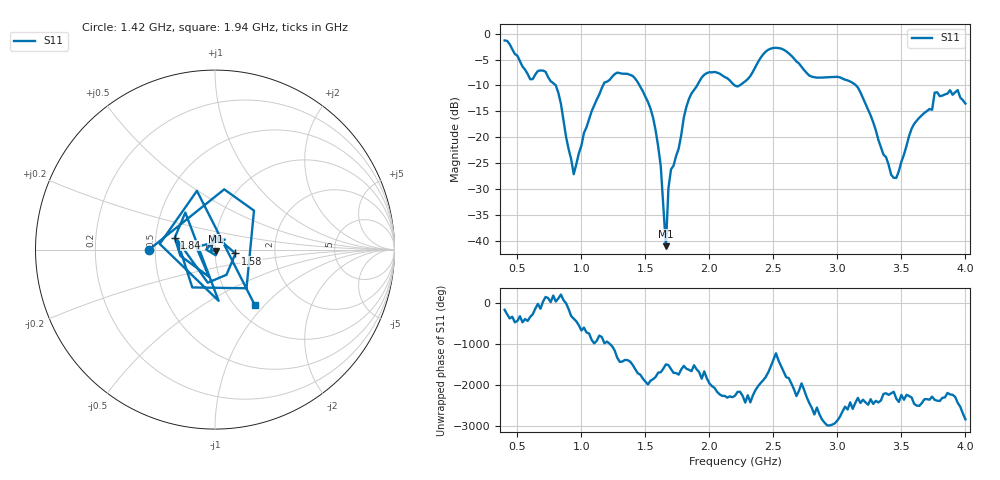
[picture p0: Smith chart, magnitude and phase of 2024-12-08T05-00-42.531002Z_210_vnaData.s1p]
!Created with skrf (http://scikit-rf.org).
# Hz S RI R 50.0
!freq ReS11 ImS11
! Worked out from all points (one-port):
!   181 points, 400 MHz to 4 GHz, reference 50 ohm
!   lowest |S11| = -41.0 dB at 1.66 GHz (marker M1), VSWR 1.02, Z = 50.4 - j0.815 ohm
!   |S11| at or under -10 dB: 800.2 MHz to 1.169 GHz (368.9 MHz wide, 37.5 % of centre); 1.454 GHz to 1.904 GHz (450.1 MHz wide, 26.8 % of centre); 3.145 GHz to end of sweep (the widest 3 of 4)
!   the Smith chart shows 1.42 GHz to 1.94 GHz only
!   S11 on the Smith chart (normalised r, x): 1.42 GHz: 0.46, -0.00; 1.58 GHz: 1.26, -0.05; 1.84 GHz: 0.63, +0.09; 1.94 GHz: 1.22, -0.87
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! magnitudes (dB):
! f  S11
! 400 MHz  -1.3
! 600 MHz  -8.8
! 700 MHz  -7.1
! 800 MHz  -10.0
! 860 MHz  -16.7
! 940 MHz  -27.1
! 1.16 GHz  -10.5
! 1.3 GHz  -7.6
! 1.42 GHz  -8.7
! 1.58 GHz  -18.7
! 1.62 GHz  -25.6
! 1.66 GHz  -41.0
! 1.68 GHz  -29.8
! 1.76 GHz  -22.2
! 1.84 GHz  -12.6
! 1.94 GHz  -8.5
! 2.2 GHz  -10.0
! 2.46 GHz  -3.1
! 2.66 GHz  -4.8
! 2.8 GHz  -8.3
! 3.1 GHz  -9.2
! 3.18 GHz  -11.3
! 3.44 GHz  -27.8
! 3.56 GHz  -19.8
! 3.74 GHz  -14.7
! 3.76 GHz  -11.4
! 3.94 GHz  -10.9
! 4 GHz  -13.5
